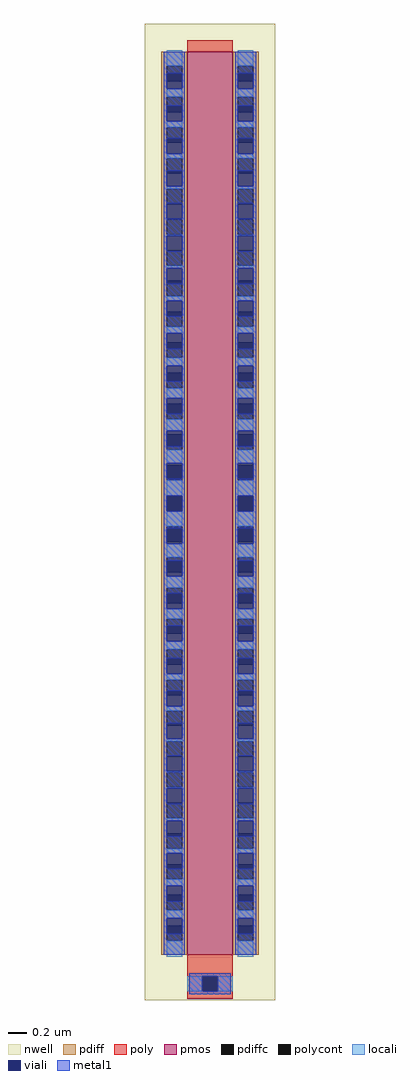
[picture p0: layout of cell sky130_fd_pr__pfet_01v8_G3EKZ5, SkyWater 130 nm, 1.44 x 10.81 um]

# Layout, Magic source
magic
tech sky130A
magscale 1 2
<< nwell >>
rect -144 -1064 144 1098
<< pmos >>
rect -50 -964 50 1036
<< pdiff >>
rect -108 1005 -50 1036
rect -108 971 -96 1005
rect -62 971 -50 1005
rect -108 937 -50 971
rect -108 903 -96 937
rect -62 903 -50 937
rect -108 869 -50 903
rect -108 835 -96 869
rect -62 835 -50 869
rect -108 801 -50 835
rect -108 767 -96 801
rect -62 767 -50 801
rect -108 733 -50 767
rect -108 699 -96 733
rect -62 699 -50 733
rect -108 665 -50 699
rect -108 631 -96 665
rect -62 631 -50 665
rect -108 597 -50 631
rect -108 563 -96 597
rect -62 563 -50 597
rect -108 529 -50 563
rect -108 495 -96 529
rect -62 495 -50 529
rect -108 461 -50 495
rect -108 427 -96 461
rect -62 427 -50 461
rect -108 393 -50 427
rect -108 359 -96 393
rect -62 359 -50 393
rect -108 325 -50 359
rect -108 291 -96 325
rect -62 291 -50 325
rect -108 257 -50 291
rect -108 223 -96 257
rect -62 223 -50 257
rect -108 189 -50 223
rect -108 155 -96 189
rect -62 155 -50 189
rect -108 121 -50 155
rect -108 87 -96 121
rect -62 87 -50 121
rect -108 53 -50 87
rect -108 19 -96 53
rect -62 19 -50 53
rect -108 -15 -50 19
rect -108 -49 -96 -15
rect -62 -49 -50 -15
rect -108 -83 -50 -49
rect -108 -117 -96 -83
rect -62 -117 -50 -83
rect -108 -151 -50 -117
rect -108 -185 -96 -151
rect -62 -185 -50 -151
rect -108 -219 -50 -185
rect -108 -253 -96 -219
rect -62 -253 -50 -219
rect -108 -287 -50 -253
rect -108 -321 -96 -287
rect -62 -321 -50 -287
rect -108 -355 -50 -321
rect -108 -389 -96 -355
rect -62 -389 -50 -355
rect -108 -423 -50 -389
rect -108 -457 -96 -423
rect -62 -457 -50 -423
rect -108 -491 -50 -457
rect -108 -525 -96 -491
rect -62 -525 -50 -491
rect -108 -559 -50 -525
rect -108 -593 -96 -559
rect -62 -593 -50 -559
rect -108 -627 -50 -593
rect -108 -661 -96 -627
rect -62 -661 -50 -627
rect -108 -695 -50 -661
rect -108 -729 -96 -695
rect -62 -729 -50 -695
rect -108 -763 -50 -729
rect -108 -797 -96 -763
rect -62 -797 -50 -763
rect -108 -831 -50 -797
rect -108 -865 -96 -831
rect -62 -865 -50 -831
rect -108 -899 -50 -865
rect -108 -933 -96 -899
rect -62 -933 -50 -899
rect -108 -964 -50 -933
rect 50 1005 108 1036
rect 50 971 62 1005
rect 96 971 108 1005
rect 50 937 108 971
rect 50 903 62 937
rect 96 903 108 937
rect 50 869 108 903
rect 50 835 62 869
rect 96 835 108 869
rect 50 801 108 835
rect 50 767 62 801
rect 96 767 108 801
rect 50 733 108 767
rect 50 699 62 733
rect 96 699 108 733
rect 50 665 108 699
rect 50 631 62 665
rect 96 631 108 665
rect 50 597 108 631
rect 50 563 62 597
rect 96 563 108 597
rect 50 529 108 563
rect 50 495 62 529
rect 96 495 108 529
rect 50 461 108 495
rect 50 427 62 461
rect 96 427 108 461
rect 50 393 108 427
rect 50 359 62 393
rect 96 359 108 393
rect 50 325 108 359
rect 50 291 62 325
rect 96 291 108 325
rect 50 257 108 291
rect 50 223 62 257
rect 96 223 108 257
rect 50 189 108 223
rect 50 155 62 189
rect 96 155 108 189
rect 50 121 108 155
rect 50 87 62 121
rect 96 87 108 121
rect 50 53 108 87
rect 50 19 62 53
rect 96 19 108 53
rect 50 -15 108 19
rect 50 -49 62 -15
rect 96 -49 108 -15
rect 50 -83 108 -49
rect 50 -117 62 -83
rect 96 -117 108 -83
rect 50 -151 108 -117
rect 50 -185 62 -151
rect 96 -185 108 -151
rect 50 -219 108 -185
rect 50 -253 62 -219
rect 96 -253 108 -219
rect 50 -287 108 -253
rect 50 -321 62 -287
rect 96 -321 108 -287
rect 50 -355 108 -321
rect 50 -389 62 -355
rect 96 -389 108 -355
rect 50 -423 108 -389
rect 50 -457 62 -423
rect 96 -457 108 -423
rect 50 -491 108 -457
rect 50 -525 62 -491
rect 96 -525 108 -491
rect 50 -559 108 -525
rect 50 -593 62 -559
rect 96 -593 108 -559
rect 50 -627 108 -593
rect 50 -661 62 -627
rect 96 -661 108 -627
rect 50 -695 108 -661
rect 50 -729 62 -695
rect 96 -729 108 -695
rect 50 -763 108 -729
rect 50 -797 62 -763
rect 96 -797 108 -763
rect 50 -831 108 -797
rect 50 -865 62 -831
rect 96 -865 108 -831
rect 50 -899 108 -865
rect 50 -933 62 -899
rect 96 -933 108 -899
rect 50 -964 108 -933
<< pdiffc >>
rect -96 971 -62 1005
rect -96 903 -62 937
rect -96 835 -62 869
rect -96 767 -62 801
rect -96 699 -62 733
rect -96 631 -62 665
rect -96 563 -62 597
rect -96 495 -62 529
rect -96 427 -62 461
rect -96 359 -62 393
rect -96 291 -62 325
rect -96 223 -62 257
rect -96 155 -62 189
rect -96 87 -62 121
rect -96 19 -62 53
rect -96 -49 -62 -15
rect -96 -117 -62 -83
rect -96 -185 -62 -151
rect -96 -253 -62 -219
rect -96 -321 -62 -287
rect -96 -389 -62 -355
rect -96 -457 -62 -423
rect -96 -525 -62 -491
rect -96 -593 -62 -559
rect -96 -661 -62 -627
rect -96 -729 -62 -695
rect -96 -797 -62 -763
rect -96 -865 -62 -831
rect -96 -933 -62 -899
rect 62 971 96 1005
rect 62 903 96 937
rect 62 835 96 869
rect 62 767 96 801
rect 62 699 96 733
rect 62 631 96 665
rect 62 563 96 597
rect 62 495 96 529
rect 62 427 96 461
rect 62 359 96 393
rect 62 291 96 325
rect 62 223 96 257
rect 62 155 96 189
rect 62 87 96 121
rect 62 19 96 53
rect 62 -49 96 -15
rect 62 -117 96 -83
rect 62 -185 96 -151
rect 62 -253 96 -219
rect 62 -321 96 -287
rect 62 -389 96 -355
rect 62 -457 96 -423
rect 62 -525 96 -491
rect 62 -593 96 -559
rect 62 -661 96 -627
rect 62 -729 96 -695
rect 62 -797 96 -763
rect 62 -865 96 -831
rect 62 -933 96 -899
<< poly >>
rect -50 1036 50 1062
rect -50 -1011 50 -964
rect -50 -1045 -17 -1011
rect 17 -1045 50 -1011
rect -50 -1061 50 -1045
<< polycont >>
rect -17 -1045 17 -1011
<< locali >>
rect -96 1005 -62 1040
rect -96 937 -62 955
rect -96 869 -62 883
rect -96 801 -62 811
rect -96 733 -62 739
rect -96 665 -62 667
rect -96 629 -62 631
rect -96 557 -62 563
rect -96 485 -62 495
rect -96 413 -62 427
rect -96 341 -62 359
rect -96 269 -62 291
rect -96 197 -62 223
rect -96 125 -62 155
rect -96 53 -62 87
rect -96 -15 -62 19
rect -96 -83 -62 -53
rect -96 -151 -62 -125
rect -96 -219 -62 -197
rect -96 -287 -62 -269
rect -96 -355 -62 -341
rect -96 -423 -62 -413
rect -96 -491 -62 -485
rect -96 -559 -62 -557
rect -96 -595 -62 -593
rect -96 -667 -62 -661
rect -96 -739 -62 -729
rect -96 -811 -62 -797
rect -96 -883 -62 -865
rect -96 -968 -62 -933
rect 62 1005 96 1040
rect 62 937 96 955
rect 62 869 96 883
rect 62 801 96 811
rect 62 733 96 739
rect 62 665 96 667
rect 62 629 96 631
rect 62 557 96 563
rect 62 485 96 495
rect 62 413 96 427
rect 62 341 96 359
rect 62 269 96 291
rect 62 197 96 223
rect 62 125 96 155
rect 62 53 96 87
rect 62 -15 96 19
rect 62 -83 96 -53
rect 62 -151 96 -125
rect 62 -219 96 -197
rect 62 -287 96 -269
rect 62 -355 96 -341
rect 62 -423 96 -413
rect 62 -491 96 -485
rect 62 -559 96 -557
rect 62 -595 96 -593
rect 62 -667 96 -661
rect 62 -739 96 -729
rect 62 -811 96 -797
rect 62 -883 96 -865
rect 62 -968 96 -933
rect -50 -1045 -17 -1011
rect 17 -1045 50 -1011
<< viali >>
rect -96 971 -62 989
rect -96 955 -62 971
rect -96 903 -62 917
rect -96 883 -62 903
rect -96 835 -62 845
rect -96 811 -62 835
rect -96 767 -62 773
rect -96 739 -62 767
rect -96 699 -62 701
rect -96 667 -62 699
rect -96 597 -62 629
rect -96 595 -62 597
rect -96 529 -62 557
rect -96 523 -62 529
rect -96 461 -62 485
rect -96 451 -62 461
rect -96 393 -62 413
rect -96 379 -62 393
rect -96 325 -62 341
rect -96 307 -62 325
rect -96 257 -62 269
rect -96 235 -62 257
rect -96 189 -62 197
rect -96 163 -62 189
rect -96 121 -62 125
rect -96 91 -62 121
rect -96 19 -62 53
rect -96 -49 -62 -19
rect -96 -53 -62 -49
rect -96 -117 -62 -91
rect -96 -125 -62 -117
rect -96 -185 -62 -163
rect -96 -197 -62 -185
rect -96 -253 -62 -235
rect -96 -269 -62 -253
rect -96 -321 -62 -307
rect -96 -341 -62 -321
rect -96 -389 -62 -379
rect -96 -413 -62 -389
rect -96 -457 -62 -451
rect -96 -485 -62 -457
rect -96 -525 -62 -523
rect -96 -557 -62 -525
rect -96 -627 -62 -595
rect -96 -629 -62 -627
rect -96 -695 -62 -667
rect -96 -701 -62 -695
rect -96 -763 -62 -739
rect -96 -773 -62 -763
rect -96 -831 -62 -811
rect -96 -845 -62 -831
rect -96 -899 -62 -883
rect -96 -917 -62 -899
rect 62 971 96 989
rect 62 955 96 971
rect 62 903 96 917
rect 62 883 96 903
rect 62 835 96 845
rect 62 811 96 835
rect 62 767 96 773
rect 62 739 96 767
rect 62 699 96 701
rect 62 667 96 699
rect 62 597 96 629
rect 62 595 96 597
rect 62 529 96 557
rect 62 523 96 529
rect 62 461 96 485
rect 62 451 96 461
rect 62 393 96 413
rect 62 379 96 393
rect 62 325 96 341
rect 62 307 96 325
rect 62 257 96 269
rect 62 235 96 257
rect 62 189 96 197
rect 62 163 96 189
rect 62 121 96 125
rect 62 91 96 121
rect 62 19 96 53
rect 62 -49 96 -19
rect 62 -53 96 -49
rect 62 -117 96 -91
rect 62 -125 96 -117
rect 62 -185 96 -163
rect 62 -197 96 -185
rect 62 -253 96 -235
rect 62 -269 96 -253
rect 62 -321 96 -307
rect 62 -341 96 -321
rect 62 -389 96 -379
rect 62 -413 96 -389
rect 62 -457 96 -451
rect 62 -485 96 -457
rect 62 -525 96 -523
rect 62 -557 96 -525
rect 62 -627 96 -595
rect 62 -629 96 -627
rect 62 -695 96 -667
rect 62 -701 96 -695
rect 62 -763 96 -739
rect 62 -773 96 -763
rect 62 -831 96 -811
rect 62 -845 96 -831
rect 62 -899 96 -883
rect 62 -917 96 -899
rect -17 -1045 17 -1011
<< metal1 >>
rect -102 989 -56 1036
rect -102 955 -96 989
rect -62 955 -56 989
rect -102 917 -56 955
rect -102 883 -96 917
rect -62 883 -56 917
rect -102 845 -56 883
rect -102 811 -96 845
rect -62 811 -56 845
rect -102 773 -56 811
rect -102 739 -96 773
rect -62 739 -56 773
rect -102 701 -56 739
rect -102 667 -96 701
rect -62 667 -56 701
rect -102 629 -56 667
rect -102 595 -96 629
rect -62 595 -56 629
rect -102 557 -56 595
rect -102 523 -96 557
rect -62 523 -56 557
rect -102 485 -56 523
rect -102 451 -96 485
rect -62 451 -56 485
rect -102 413 -56 451
rect -102 379 -96 413
rect -62 379 -56 413
rect -102 341 -56 379
rect -102 307 -96 341
rect -62 307 -56 341
rect -102 269 -56 307
rect -102 235 -96 269
rect -62 235 -56 269
rect -102 197 -56 235
rect -102 163 -96 197
rect -62 163 -56 197
rect -102 125 -56 163
rect -102 91 -96 125
rect -62 91 -56 125
rect -102 53 -56 91
rect -102 19 -96 53
rect -62 19 -56 53
rect -102 -19 -56 19
rect -102 -53 -96 -19
rect -62 -53 -56 -19
rect -102 -91 -56 -53
rect -102 -125 -96 -91
rect -62 -125 -56 -91
rect -102 -163 -56 -125
rect -102 -197 -96 -163
rect -62 -197 -56 -163
rect -102 -235 -56 -197
rect -102 -269 -96 -235
rect -62 -269 -56 -235
rect -102 -307 -56 -269
rect -102 -341 -96 -307
rect -62 -341 -56 -307
rect -102 -379 -56 -341
rect -102 -413 -96 -379
rect -62 -413 -56 -379
rect -102 -451 -56 -413
rect -102 -485 -96 -451
rect -62 -485 -56 -451
rect -102 -523 -56 -485
rect -102 -557 -96 -523
rect -62 -557 -56 -523
rect -102 -595 -56 -557
rect -102 -629 -96 -595
rect -62 -629 -56 -595
rect -102 -667 -56 -629
rect -102 -701 -96 -667
rect -62 -701 -56 -667
rect -102 -739 -56 -701
rect -102 -773 -96 -739
rect -62 -773 -56 -739
rect -102 -811 -56 -773
rect -102 -845 -96 -811
rect -62 -845 -56 -811
rect -102 -883 -56 -845
rect -102 -917 -96 -883
rect -62 -917 -56 -883
rect -102 -964 -56 -917
rect 56 989 102 1036
rect 56 955 62 989
rect 96 955 102 989
rect 56 917 102 955
rect 56 883 62 917
rect 96 883 102 917
rect 56 845 102 883
rect 56 811 62 845
rect 96 811 102 845
rect 56 773 102 811
rect 56 739 62 773
rect 96 739 102 773
rect 56 701 102 739
rect 56 667 62 701
rect 96 667 102 701
rect 56 629 102 667
rect 56 595 62 629
rect 96 595 102 629
rect 56 557 102 595
rect 56 523 62 557
rect 96 523 102 557
rect 56 485 102 523
rect 56 451 62 485
rect 96 451 102 485
rect 56 413 102 451
rect 56 379 62 413
rect 96 379 102 413
rect 56 341 102 379
rect 56 307 62 341
rect 96 307 102 341
rect 56 269 102 307
rect 56 235 62 269
rect 96 235 102 269
rect 56 197 102 235
rect 56 163 62 197
rect 96 163 102 197
rect 56 125 102 163
rect 56 91 62 125
rect 96 91 102 125
rect 56 53 102 91
rect 56 19 62 53
rect 96 19 102 53
rect 56 -19 102 19
rect 56 -53 62 -19
rect 96 -53 102 -19
rect 56 -91 102 -53
rect 56 -125 62 -91
rect 96 -125 102 -91
rect 56 -163 102 -125
rect 56 -197 62 -163
rect 96 -197 102 -163
rect 56 -235 102 -197
rect 56 -269 62 -235
rect 96 -269 102 -235
rect 56 -307 102 -269
rect 56 -341 62 -307
rect 96 -341 102 -307
rect 56 -379 102 -341
rect 56 -413 62 -379
rect 96 -413 102 -379
rect 56 -451 102 -413
rect 56 -485 62 -451
rect 96 -485 102 -451
rect 56 -523 102 -485
rect 56 -557 62 -523
rect 96 -557 102 -523
rect 56 -595 102 -557
rect 56 -629 62 -595
rect 96 -629 102 -595
rect 56 -667 102 -629
rect 56 -701 62 -667
rect 96 -701 102 -667
rect 56 -739 102 -701
rect 56 -773 62 -739
rect 96 -773 102 -739
rect 56 -811 102 -773
rect 56 -845 62 -811
rect 96 -845 102 -811
rect 56 -883 102 -845
rect 56 -917 62 -883
rect 96 -917 102 -883
rect 56 -964 102 -917
rect -46 -1011 46 -1005
rect -46 -1045 -17 -1011
rect 17 -1045 46 -1011
rect -46 -1051 46 -1045
<< end >>
